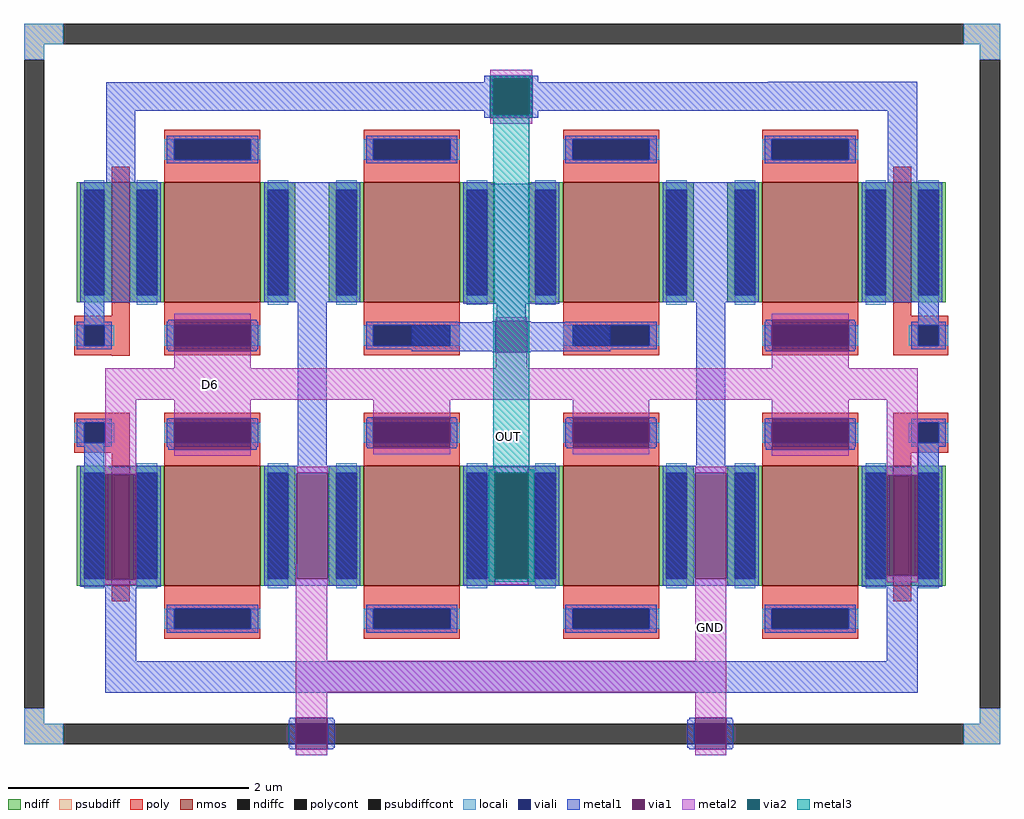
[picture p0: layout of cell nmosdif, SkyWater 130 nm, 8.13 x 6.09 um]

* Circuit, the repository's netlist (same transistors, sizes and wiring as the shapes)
** sch_path: /home/bagatraya/icpolytron/opamp/mag/nmosdif.sch
.subckt nmosdif D6 OUT GND
*.PININFO GND:B OUT:O D6:B
XM8 D6 D6 GND GND sky130_fd_pr__nfet_01v8 L=0.8 W=1 nf=1 m=4
XM9 OUT D6 GND GND sky130_fd_pr__nfet_01v8 L=0.8 W=1 nf=1 m=4
XM3 OUT OUT OUT GND sky130_fd_pr__nfet_01v8 L=0.15 W=1 nf=1 m=2
XM4 D6 D6 D6 GND sky130_fd_pr__nfet_01v8 L=0.15 W=1 nf=1 m=2
.ends
.end

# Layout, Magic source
magic
tech sky130A
magscale 1 2
<< psubdiff >>
rect -176 518 -111 552
rect 1390 518 1450 552
rect -176 492 -142 518
rect 1416 492 1450 518
rect -176 -614 -142 -588
rect 1416 -614 1450 -588
rect -176 -648 -111 -614
rect 1390 -648 1450 -614
<< psubdiffcont >>
rect -111 518 1390 552
rect -176 -588 -142 492
rect 1416 -588 1450 492
rect -111 -648 1390 -614
<< poly >>
rect -30 66 0 88
rect -92 50 0 66
rect -92 16 -76 50
rect -42 16 0 50
rect -92 0 0 16
rect 1272 66 1302 88
rect 1272 50 1364 66
rect 1272 16 1314 50
rect 1348 16 1364 50
rect 1272 0 1364 16
rect -30 -1 0 0
rect -92 -112 0 -96
rect -92 -146 -76 -112
rect -42 -146 0 -112
rect -92 -162 0 -146
rect -30 -184 0 -162
rect 1272 -112 1364 -96
rect 1272 -146 1314 -112
rect 1348 -146 1364 -112
rect 1272 -162 1364 -146
rect 1272 -184 1302 -162
<< polycont >>
rect -76 16 -42 50
rect 1314 16 1348 50
rect -76 -146 -42 -112
rect 1314 -146 1348 -112
<< locali >>
rect -176 518 -111 552
rect 1390 518 1450 552
rect -176 492 -142 518
rect 1416 492 1450 518
rect -76 50 -42 100
rect 1314 50 1348 100
rect -92 16 -76 50
rect -42 16 -26 50
rect 1298 16 1314 50
rect 1348 16 1364 50
rect -92 -146 -76 -112
rect -42 -146 -26 -112
rect 1298 -146 1314 -112
rect 1348 -146 1364 -112
rect -76 -186 -42 -146
rect 1314 -196 1348 -146
rect -176 -614 -142 -588
rect 1416 -614 1450 -588
rect -176 -648 -111 -614
rect 1390 -648 1450 -614
<< viali >>
rect -76 16 -42 50
rect 1314 16 1348 50
rect -76 -146 -42 -112
rect 1314 -146 1348 -112
rect 277 -614 330 -613
rect 941 -614 994 -613
rect 277 -648 330 -614
rect 941 -648 994 -614
<< metal1 >>
rect 591 455 601 466
rect -39 407 601 455
rect -39 288 9 407
rect 591 396 601 407
rect 671 455 681 466
rect 1064 455 1312 456
rect 671 407 1312 455
rect 671 396 681 407
rect 1263 288 1312 407
rect -82 88 52 288
rect 224 88 384 288
rect -76 56 -42 88
rect -88 50 -30 56
rect -88 16 -76 50
rect -42 16 -30 50
rect -88 10 -30 16
rect 64 7 74 59
rect 202 7 212 59
rect -88 -112 -30 -106
rect -88 -146 -76 -112
rect -42 -146 -30 -112
rect -88 -152 -30 -146
rect -76 -186 -42 -152
rect 64 -157 74 -105
rect 202 -157 212 -105
rect 280 -184 328 88
rect 556 86 716 286
rect 888 88 1048 288
rect 1220 88 1354 288
rect 612 57 660 86
rect 604 55 610 57
rect 470 7 610 55
rect 604 5 610 7
rect 662 55 668 57
rect 662 7 801 55
rect 662 5 668 7
rect 396 -155 406 -103
rect 534 -155 544 -103
rect 728 -155 738 -103
rect 866 -155 876 -103
rect 944 -184 992 88
rect 1060 7 1070 59
rect 1198 7 1208 59
rect 1314 56 1348 88
rect 1302 50 1360 56
rect 1302 16 1314 50
rect 1348 16 1360 50
rect 1302 10 1360 16
rect 1060 -157 1070 -105
rect 1198 -157 1208 -105
rect 1302 -112 1360 -106
rect 1302 -146 1314 -112
rect 1348 -146 1360 -112
rect 1302 -152 1360 -146
rect -82 -198 52 -186
rect -82 -374 -41 -198
rect 11 -374 52 -198
rect -82 -386 52 -374
rect 224 -196 384 -184
rect 224 -372 278 -196
rect 330 -372 384 -196
rect 224 -384 384 -372
rect 556 -196 716 -184
rect 556 -372 608 -196
rect 664 -372 716 -196
rect 556 -384 716 -372
rect 888 -196 1048 -184
rect 1314 -186 1348 -152
rect 888 -372 942 -196
rect 994 -372 1048 -196
rect 888 -384 1048 -372
rect 1220 -200 1354 -186
rect 1220 -367 1261 -200
rect 1313 -367 1354 -200
rect 1220 -386 1354 -367
rect -41 -510 11 -386
rect 1261 -510 1313 -386
rect -41 -562 1313 -510
rect 267 -607 277 -604
rect 265 -654 277 -607
rect 329 -607 339 -604
rect 932 -607 942 -604
rect 329 -613 342 -607
rect 330 -648 342 -613
rect 267 -656 277 -654
rect 329 -654 342 -648
rect 929 -613 942 -607
rect 994 -607 1004 -604
rect 929 -648 941 -613
rect 929 -654 942 -648
rect 329 -656 339 -654
rect 932 -656 942 -654
rect 994 -654 1006 -607
rect 994 -656 1004 -654
<< via1 >>
rect 601 396 671 466
rect 74 7 202 59
rect 74 -157 202 -105
rect 610 5 662 57
rect 406 -155 534 -103
rect 738 -155 866 -103
rect 1070 7 1198 59
rect 1070 -157 1198 -105
rect -41 -374 11 -198
rect 278 -372 330 -196
rect 608 -372 664 -196
rect 942 -372 994 -196
rect 1261 -367 1313 -200
rect 277 -613 329 -604
rect 277 -648 329 -613
rect 277 -656 329 -648
rect 942 -613 994 -604
rect 942 -648 994 -613
rect 942 -656 994 -648
<< metal2 >>
rect 601 466 671 476
rect 601 386 671 396
rect 74 59 202 69
rect 74 -22 202 7
rect 610 57 662 63
rect 610 -22 662 5
rect 1070 59 1198 69
rect 1070 -22 1198 7
rect -41 -74 1313 -22
rect -41 -198 11 -74
rect 74 -105 202 -74
rect 74 -167 202 -157
rect 406 -103 534 -74
rect 406 -165 534 -155
rect 738 -103 866 -74
rect 738 -165 866 -155
rect 1070 -105 1198 -74
rect 1070 -167 1198 -157
rect 278 -196 330 -186
rect -41 -382 11 -374
rect 277 -372 278 -348
rect 277 -382 330 -372
rect 608 -196 664 -186
rect 608 -382 664 -372
rect 942 -196 994 -186
rect 277 -509 329 -382
rect 942 -509 994 -372
rect 1261 -200 1313 -74
rect 1261 -378 1313 -367
rect 277 -561 994 -509
rect 277 -604 329 -561
rect 277 -666 329 -656
rect 942 -604 994 -561
rect 942 -666 994 -656
<< via2 >>
rect 606 401 666 461
rect 608 -372 664 -196
<< metal3 >>
rect 601 461 671 466
rect 601 401 606 461
rect 666 401 671 461
rect 601 396 671 401
rect 606 -191 666 396
rect 598 -196 674 -191
rect 598 -372 608 -196
rect 664 -372 674 -196
rect 598 -377 674 -372
use sky130_fd_pr__nfet_01v8_6H9P4D  sky130_fd_pr__nfet_01v8_6H9P4D_0
transform 1 0 -15 0 1 188
box -73 -126 73 126
use sky130_fd_pr__nfet_01v8_6H9P4D  sky130_fd_pr__nfet_01v8_6H9P4D_1
transform 1 0 -15 0 1 -284
box -73 -126 73 126
use sky130_fd_pr__nfet_01v8_6H9P4D  sky130_fd_pr__nfet_01v8_6H9P4D_2
transform 1 0 1287 0 1 188
box -73 -126 73 126
use sky130_fd_pr__nfet_01v8_6H9P4D  sky130_fd_pr__nfet_01v8_6H9P4D_3
transform 1 0 1287 0 1 -284
box -73 -126 73 126
use sky130_fd_pr__nfet_01v8_DB328X  sky130_fd_pr__nfet_01v8_DB328X_0
transform 1 0 636 0 1 188
box -636 -188 636 188
use sky130_fd_pr__nfet_01v8_DB328X  sky130_fd_pr__nfet_01v8_DB328X_1
transform 1 0 636 0 1 -284
box -636 -188 636 188
<< labels >>
flabel metal3 632 -135 632 -135 0 FreeSans 480 0 0 0 OUT
port 1 nsew
flabel metal2 135 -48 135 -48 0 FreeSans 480 0 0 0 D6
port 2 nsew
flabel metal2 968 -454 968 -454 0 FreeSans 480 0 0 0 GND
port 0 nsew
<< end >>

# cell sky130_fd_pr__nfet_01v8_6H9P4D: kit device sky130_fd_pr__nfet_01v8, w 1 l 0.150 m 1 nf 1 diffcov 100 polycov 100 guard 0 glc 1 grc 1 gtc 1 gbc 1 tbcov 100 rlcov 100 topc 0 botc 0 poverlap 0 doverlap 1 lmin 0.15 wmin 0.42 compatible {sky130_fd_pr__nfet_01v8 sky130_fd_pr__nfet_01v8_lvt sky130_fd_bs_flash__special_sonosfet_star sky130_fd_pr__nfet_g5v0d10v5 sky130_fd_pr__nfet_05v0_nvt sky130_fd_pr__nfet_03v3_nvt} full_metal 1 viasrc 100 viadrn 100 viagate 100 viagb 0 viagr 0 viagl 0 viagt 0

# cell sky130_fd_pr__nfet_01v8_DB328X: kit device sky130_fd_pr__nfet_01v8, w 1 l 0.8 m 1 nf 4 diffcov 100 polycov 100 guard 0 glc 1 grc 1 gtc 1 gbc 1 tbcov 100 rlcov 100 topc 1 botc 1 poverlap 0 doverlap 0 lmin 0.15 wmin 0.42 compatible {sky130_fd_pr__nfet_01v8 sky130_fd_pr__nfet_01v8_lvt sky130_fd_bs_flash__special_sonosfet_star sky130_fd_pr__nfet_g5v0d10v5 sky130_fd_pr__nfet_05v0_nvt sky130_fd_pr__nfet_03v3_nvt} full_metal 1 viasrc 100 viadrn 100 viagate 100 viagb 0 viagr 0 viagl 0 viagt 0
